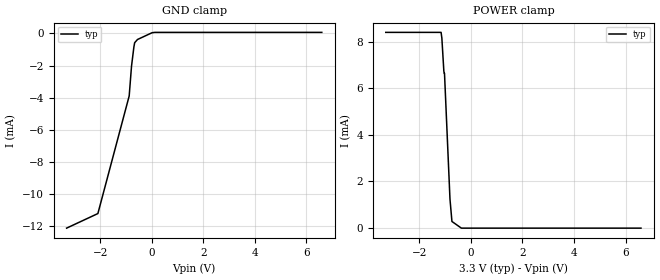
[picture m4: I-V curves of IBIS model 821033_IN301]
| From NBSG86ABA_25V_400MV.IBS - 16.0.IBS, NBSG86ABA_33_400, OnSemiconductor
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| COPYRIGHT(C) MENTOR GRAPHICS CORPORATION 2002 ALL
| RIGHTS RESERVED. THIS WORK CONTAINS PROPRIETARY
| INFORMATION WHICH IS THE PROPERTY OF MENTOR GRAPHICS
| CORPORATION OR ITS LICENSORS. USE OF THESE MATERIALS
| IS SUBJECT TO THE TERMS BELOW.
| USE: MENTOR GRAPHICS HAS LICENSED IBIS MODELS TO
| SPECIFIC INTEGRATED CIRCUIT SUPPLIERS ("IC VENDORS")
| FOR USE AND DISTRIBUTION AS FOLLOWS: EACH IC VENDOR
| MAY USE IBIS MODELS, AND DISTRIBUTE THEM TO IC VENDOR'S
| CUSTOMERS TO USE, SOLELY FOR DEVELOPING PRINTED
| CIRCUIT BOARD DESIGNS. NO OTHER USE OR DISTRIBUTION
| OF THESE MATERIALS IS PERMITTED.
| Model Application Version 1.89 2/18/99.
[Model] 821033_IN301
Model_type Input_ECL
Vinl = 1.575V
Vinh = 1.725V
C_comp 500.0fF NA NA
| variable typ   min   max
[Voltage Range] 3.300V NA NA
[GND Clamp Reference] 0.000V NA NA
[POWER Clamp Reference] 3.300V NA NA
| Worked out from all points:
|   GND clamp passes 1 mA (typ) near -0.70 V on its own axis
|   POWER clamp passes 1 mA (typ) near -0.79 V on its own axis
[GND Clamp]
-3.3V     -12.15mA   NA         NA
-2.086V   -11.24mA   NA         NA
-871.7mV  -3.9mA     NA         NA
-780.9mV  -2.039mA   NA         NA
-689.4mV  -844uA     NA         NA
-659.2mV  -573.7uA   NA         NA
-549.3mV  -375uA     NA         NA
15.53mV   47.8uA     NA         NA
121.9mV   70.35uA    NA         NA
6.6V      70.35uA    NA         NA
[POWER Clamp]
-3.3V     8.395mA    NA         NA
-1.154V   8.395mA    NA         NA
-1.124V   8.146mA    NA         NA
-1.048V   6.743mA    NA         NA
-1.035V   6.642mA    NA         NA
-1.022V   6.642mA    NA         NA
-809.7mV  1.249mA    NA         NA
-733.5mV  285.7uA    NA         NA
-366.8mV  0A         NA         NA
6.6V      0A         NA         NA
